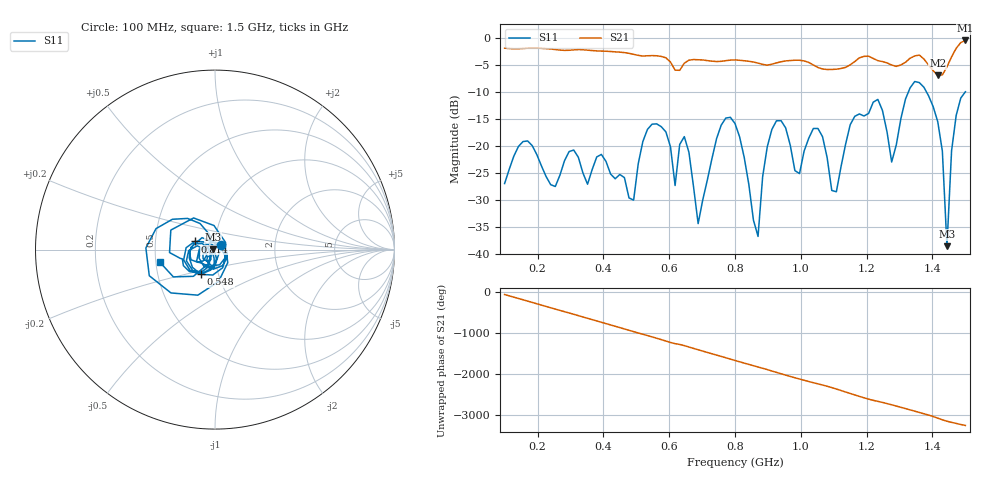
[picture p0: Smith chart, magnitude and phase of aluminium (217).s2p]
! NanoVNA-App
! Date: 2025-09-25 14:56:58
! Start: 100MHz Stop: 1,5GHz Points: 101
! S-Parameter data: F S11 S21 S12 S22
# Hz S RI R 50
!  Frequency  S11_Real  S11_Imag  S21_Real  S21_Imag  S12_Real  S12_Imag  S22_Real  S22_Imag
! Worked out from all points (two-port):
!   101 points, 100 MHz to 1.5 GHz, reference 50 ohm
!   highest |S21| = -0.49 dB at 1.5 GHz (marker M1); lowest = -7.0 dB at 1.416 GHz (marker M2)
!   |S21| within 3 dB of the highest: start of sweep to 578.7 MHz; 1.458 GHz to end of sweep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
!   lowest |S11| = -38.5 dB at 1.444 GHz (marker M3), VSWR 1.02, Z = 48.8 + j0.13 ohm
!   |S11| at or under -10 dB: start of sweep to 1.327 GHz; 1.382 GHz to 1.5 GHz (118.2 MHz wide, 8.21 % of centre)
!   S12 and S22 are empty: the file has one direction only
!   S11 on the Smith chart (normalised r, x): 100 MHz: 1.07, +0.06; 548 MHz: 0.82, -0.23; 814 MHz: 0.79, +0.07; 1.5 GHz: 0.52, -0.08
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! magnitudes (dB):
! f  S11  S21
! 100 MHz  -27.0  -1.9
! 338 MHz  -25.0  -2.2
! 492 MHz  -30.0  -3.1
! 548 MHz  -16.0  -3.3
! 576 MHz  -16.4  -3.4
! 618 MHz  -27.3  -6.0
! 646 MHz  -18.3  -4.7
! 688 MHz  -34.4  -4.1
! 800 MHz  -15.9  -4.1
! 814 MHz  -18.3  -4.2
! 870 MHz  -36.7  -4.7
! 912 MHz  -17.0  -4.9
! 996 MHz  -25.1  -4.2
! 1.038 GHz  -16.8  -5.0
! 1.108 GHz  -28.5  -5.8
! 1.234 GHz  -11.4  -4.2
! 1.276 GHz  -23.0  -5.0
! 1.346 GHz  -8.1  -3.4
! 1.416 GHz  -15.5  -7.0
! 1.444 GHz  -38.5  -5.4
! 1.458 GHz  -20.9  -3.5
! 1.5 GHz  -10.0  -0.5
